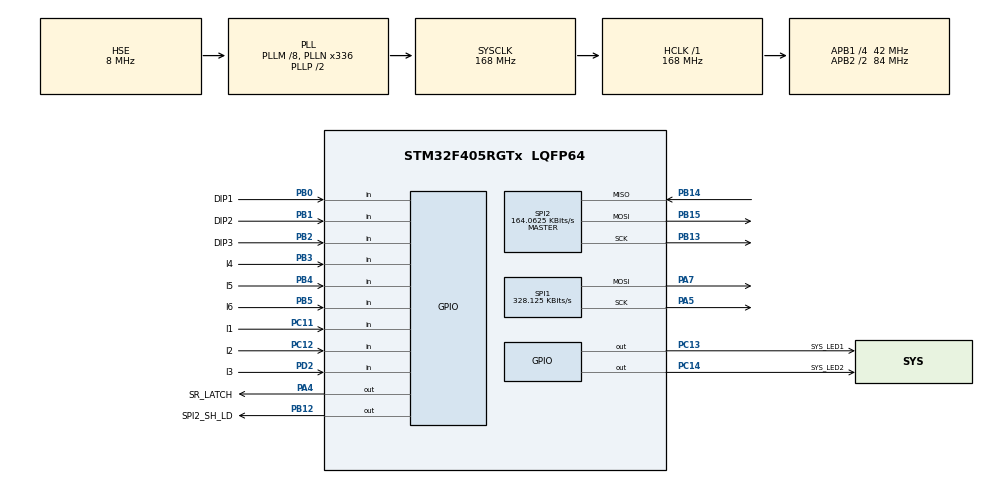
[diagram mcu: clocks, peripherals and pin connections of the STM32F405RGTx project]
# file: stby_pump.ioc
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Mcu.Family=STM32F4
Mcu.Name=STM32F405RGTx
Mcu.Package=LQFP64
NVIC.PriorityGroup=NVIC_PRIORITYGROUP_4
PA13.Mode=Serial_Wire
PA13.Signal=SYS_JTMS-SWDIO
PA14.Mode=Serial_Wire
PA14.Signal=SYS_JTCK-SWCLK
PA4.GPIO_Label=SR_LATCH
PA4.Signal=GPIO_Output
PA5.Mode=TX_Only_Simplex_Unidirect_Master
PA5.Signal=SPI1_SCK
PA7.Mode=TX_Only_Simplex_Unidirect_Master
PA7.Signal=SPI1_MOSI
PB0.GPIO_Label=DIP1
PB0.Signal=GPIO_Input
PB1.GPIO_Label=DIP2
PB1.Signal=GPIO_Input
PB2.GPIO_Label=DIP3
PB2.Signal=GPIO_Input
PB3.GPIO_Label=I4
PB3.Signal=GPIO_Input
PB4.GPIO_Label=I5
PB4.Signal=GPIO_Input
PB5.GPIO_Label=I6
PB5.Signal=GPIO_Input
PB12.GPIO_Label=SPI2_SH_LD
PB12.PinState=GPIO_PIN_SET
PB12.Signal=GPIO_Output
PB13.Mode=Full_Duplex_Master
PB13.Signal=SPI2_SCK
PB14.Mode=Full_Duplex_Master
PB14.Signal=SPI2_MISO
PB15.Mode=Full_Duplex_Master
PB15.Signal=SPI2_MOSI
PC11.GPIO_Label=I1
PC11.Signal=GPIO_Input
PC12.GPIO_Label=I2
PC12.Signal=GPIO_Input
PC13-ANTI_TAMP.GPIO_Label=SYS_LED1
PC13-ANTI_TAMP.Signal=GPIO_Output
PC14-OSC32_IN.GPIO_Label=SYS_LED2
PC14-OSC32_IN.Signal=GPIO_Output
PD2.GPIO_Label=I3
PD2.Signal=GPIO_Input
PH0-OSC_IN.Mode=HSE-External-Oscillator
PH0-OSC_IN.Signal=RCC_OSC_IN
PH1-OSC_OUT.Mode=HSE-External-Oscillator
PH1-OSC_OUT.Signal=RCC_OSC_OUT
ProjectManager.HeapSize=0x200
ProjectManager.StackSize=0x400
ProjectManager.TargetToolchain=STM32CubeIDE
RCC.AHBCLKDivider=RCC_SYSCLK_DIV1
RCC.AHBFreq_Value=168000000
RCC.APB1CLKDivider=RCC_HCLK_DIV4
RCC.APB1Freq_Value=42000000
RCC.APB1TimFreq_Value=84000000
RCC.APB2CLKDivider=RCC_HCLK_DIV2
RCC.APB2Freq_Value=84000000
RCC.APB2TimFreq_Value=168000000
RCC.CortexFreq_Value=168000000
RCC.HCLKFreq_Value=168000000
RCC.HSE_VALUE=8000000
RCC.HSI_VALUE=16000000
RCC.LSE_VALUE=32768
RCC.PLLM=8
RCC.PLLN=336
RCC.PLLP=RCC_PLLP_DIV2
RCC.PLLQ=7
RCC.PLLSourceVirtual=RCC_PLLSOURCE_HSE
RCC.SYSCLKFreq_VALUE=168000000
RCC.SYSCLKSource=RCC_SYSCLKSOURCE_PLLCLK
RCC.VCOOutputFreq_Value=336000000
SPI1.BaudRatePrescaler=SPI_BAUDRATEPRESCALER_256
SPI1.CalculateBaudRate=328.125 KBits/s
SPI1.Direction=SPI_DIRECTION_2LINES
SPI1.Mode=SPI_MODE_MASTER
SPI1.VirtualType=VM_MASTER
SPI2.BaudRatePrescaler=SPI_BAUDRATEPRESCALER_256
SPI2.CalculateBaudRate=164.0625 KBits/s
SPI2.Direction=SPI_DIRECTION_2LINES
SPI2.Mode=SPI_MODE_MASTER
SPI2.VirtualType=VM_MASTER
board=custom

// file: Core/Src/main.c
/* USER CODE BEGIN Header */
/**
 ******************************************************************************
 * @file           : main.c
 * @brief          : Main program body
 ******************************************************************************
 * @attention
 *
 * Copyright (c) 2026 STMicroelectronics.
 * All rights reserved.
 * This software is licensed under terms that can be found in the LICENSE file
 * in the root directory of this software component.
 * If no LICENSE file comes with this software, it is provided AS-IS.
 *
 ******************************************************************************
 */
/* USER CODE END Header */
#include "main.h"

/* USER CODE BEGIN Includes */
#include "stby_config.h"
#include <string.h>

/* USER CODE END Includes */

/* USER CODE BEGIN PTD */
typedef enum
{
    SELECTOR_OFF = 0,
    SELECTOR_P1,
    SELECTOR_P2,
    SELECTOR_INVALID
} SelectorState_t;

typedef enum
{
    PUMP_STATE_OFF = 0,
    PUMP_STATE_RUNNING
} PumpState_t;

typedef enum
{
    AUTO_STATE_OFF = 0,
    AUTO_STATE_TRY_PRIMARY,
    AUTO_STATE_PRIMARY_RUNNING,
    AUTO_STATE_TRY_SECONDARY,
    AUTO_STATE_SECONDARY_RUNNING,
    AUTO_STATE_ALARM
} AutoState_t;

typedef struct
{
    uint8_t pressure_p1_raw;
    uint8_t rpm_p1_raw;
    uint8_t fb_p1_raw;
    uint8_t pressure_p2_raw;
    uint8_t rpm_p2_raw;
    uint8_t fb_p2_raw;

    uint8_t ac_p1_raw;
    uint8_t ac_p2_raw;

    uint8_t ack_lt1_raw;
    uint8_t sel_p1_raw;
    uint8_t sel_p2_raw;
} RawInputs_t;

typedef struct
{
    uint8_t pressure_p1;
    uint8_t rpm_p1;
    uint8_t fb_p1;
    uint8_t pressure_p2;
    uint8_t rpm_p2;
    uint8_t fb_p2;

    uint8_t ac_p1;
    uint8_t ac_p2;

    uint8_t ack_short;
    uint8_t lamp_test;
    SelectorState_t selector;
} Inputs_t;

typedef struct
{
    uint8_t pump1_cmd;
    uint8_t pump2_cmd;

    uint8_t ind1_system_ready;
    uint8_t ind2_p1_ready;
    uint8_t ind3_p1_on;
    uint8_t ind4_p1_standby;
    uint8_t ind5_p2_ready;
    uint8_t ind6_p2_on;
    uint8_t ind7_p2_standby;
    uint8_t ind8_pressure_low;
    uint8_t ind9_standby_alarm;
} Outputs_t;

typedef struct
{
    PumpState_t state;
    uint32_t state_tick;
} PumpChannel_t;

/* USER CODE END PTD */

/* USER CODE BEGIN PD */

#define INPUT_ACTIVE_STATE GPIO_PIN_SET
#define LED_ON_STATE GPIO_PIN_SET
#define LED_OFF_STATE ((LED_ON_STATE == GPIO_PIN_SET) ? GPIO_PIN_RESET : GPIO_PIN_SET)
#define PIN_IS_ACTIVE(port, pin) (HAL_GPIO_ReadPin((port), (pin)) == (INPUT_ACTIVE_STATE))
#define MAYBE_UNUSED __attribute__((unused))

#define SR_LATCH_GPIO SR_LATCH_GPIO_Port
#define SR_LATCH_PIN SR_LATCH_Pin
/* ---------------- Configuration ---------------- */
#define CONTROL_MODE_AUTO STBY_CONTROL_MODE_AUTO
#define CONTROL_MODE_MANUAL STBY_CONTROL_MODE_MANUAL
#define CONTROL_MODE_TEST STBY_CONTROL_MODE_TEST
#define CONTROL_MODE_PIN_TEST STBY_CONTROL_MODE_PIN_TEST
#define CONTROL_MODE STBY_CONTROL_MODE

/* Input polarities: set 1 if active high, 0 if active low */
#define PRESSURE_ACTIVE_LEVEL STBY_PRESSURE_ACTIVE_LEVEL
#define RPM_ACTIVE_LEVEL STBY_RPM_ACTIVE_LEVEL
#define AC_ACTIVE_LEVEL STBY_AC_ACTIVE_LEVEL
#define FEEDBACK_ACTIVE_LEVEL STBY_FEEDBACK_ACTIVE_LEVEL
#define SELECTOR_ACTIVE_LEVEL STBY_SELECTOR_ACTIVE_LEVEL
#define ACK_LT1_ACTIVE_LEVEL STBY_ACK_ACTIVE_LEVEL

/* Timing */
#define LOOP_DELAY_MS 20U
#define T_DEBOUNCE_MS 200U
#define T_RPM_DEBOUNCE_MS 2000U
#define T_ACK_DEBOUNCE_MS 50U
#define T_ACK_LONGPRESS_MS 1500U
#define T_BLINK_MS 500U
#define T_FEEDBACK_TIMEOUT_MS 3000U
#define T_OUTPUT_TEST_STEP_MS STBY_OUTPUT_TEST_STEP_MS
#define T_RELAY_BREAK_BEFORE_MAKE_MS STBY_RELAY_BREAK_BEFORE_MAKE_MS

#define FAULT_P1_FEEDBACK_TIMEOUT_MASK (1UL << 0)
#define FAULT_P2_FEEDBACK_TIMEOUT_MASK (1UL << 1)

/* USER CODE END PD */

SPI_HandleTypeDef hspi1;
SPI_HandleTypeDef hspi2;

/* USER CODE BEGIN PV */

static RawInputs_t g_raw;
static Inputs_t g_in;
static Outputs_t g_out;

static AutoState_t g_auto_state = AUTO_STATE_OFF;
static uint8_t g_alarm_latched = 0;
static uint8_t g_alarm_blink = 0;
static uint32_t g_auto_state_tick = 0U;
static SelectorState_t g_auto_primary_pump = SELECTOR_OFF;
static uint32_t g_auto_failed_mask = 0U;

static uint32_t g_fault_active_mask = 0U;
static uint32_t g_fault_new_mask = 0U;
static uint32_t g_fault_prev_active_mask = 0U;
static uint32_t g_fault_latched_mask = 0U;

static PumpChannel_t g_p1_channel = {PUMP_STATE_OFF, 0U};
static PumpChannel_t g_p2_channel = {PUMP_STATE_OFF, 0U};

static uint8_t g_last_ack_raw = 0;
static uint32_t g_ack_press_tick = 0;
static uint8_t g_lamp_test_active = 0;
static uint8_t g_lamp_test_group_step = 0U;
static uint8_t g_lamp_test_prev_active = 0U;
static uint32_t g_lamp_test_tick = 0U;
static uint8_t g_test_led_step = 0U;
static uint32_t g_test_step_tick = 0U;
static uint8_t g_test_dip_stable = 0U;
static uint8_t g_test_dip_candidate = 0U;
static uint32_t g_test_dip_tick = 0U;
static uint8_t g_test_initialized = 0U;
static uint8_t g_pin_test_initialized = 0U;
static uint8_t g_pin_test_byte = 0U;
static uint32_t g_pin_test_tick = 0U;
static uint8_t g_test_sys_led1 = 0U;
static uint8_t g_test_sys_led2 = 0U;
/* State of the last successfully latched relay frame. */
static SelectorState_t g_relay_active = SELECTOR_INVALID;
static uint8_t g_relay_off_confirmed = 0U;
static uint8_t g_bench_both_latched = 0U;
static uint32_t g_relay_break_tick = 0U;

/* Debounced values */
static uint8_t db_pressure_p1 = 0;
static uint8_t db_rpm_p1 = 0;
static uint8_t db_pressure_p2 = 0;
static uint8_t db_rpm_p2 = 0;
static uint8_t db_ac_p1 = 0;
static uint8_t db_ac_p2 = 0;
static uint8_t db_sel_p1 = 0;
static uint8_t db_sel_p2 = 0;
static uint8_t db_fb_p1 = 0;
static uint8_t db_fb_p2 = 0;
static uint8_t db_ack_lt1 = 0;

static uint32_t db_tick_pressure_p1 = 0;
static uint32_t db_tick_rpm_p1 = 0;
static uint32_t db_tick_pressure_p2 = 0;
static uint32_t db_tick_rpm_p2 = 0;
static uint32_t db_tick_ac_p1 = 0;
static uint32_t db_tick_ac_p2 = 0;
static uint32_t db_tick_sel_p1 = 0;
static uint32_t db_tick_sel_p2 = 0;
static uint32_t db_tick_fb_p1 = 0;
static uint32_t db_tick_fb_p2 = 0;
static uint32_t db_tick_ack_lt1 = 0;

/* USER CODE END PV */

void SystemClock_Config(void);
static void MX_GPIO_Init(void);
static void MX_SPI1_Init(void);
static void MX_SPI2_Init(void);
/* USER CODE BEGIN PFP */

static void ReadRawInputs(void);
static void ProcessInputs(void);
static void UpdateSysLeds(void);

static void SR_LatchPulse(void);
static void SR_Write16(uint8_t far_u5, uint8_t near_u2);
static uint8_t PISO_Read8(void);
static void ApplyRelayInterlock(void);
static void UpdateOutputs(void);

static uint8_t NormalizeLevel(uint8_t raw_active, uint8_t active_level);
static void DebounceBit(uint8_t raw, uint8_t *db, uint32_t *tick, uint32_t debounce_ms);

static void ClearOutputs(void);
static void RunControlLogic(void);
static MAYBE_UNUSED void RunAutoModeSection(void);
static MAYBE_UNUSED void RunManualModeSection(void);
static MAYBE_UNUSED void RunTestModeSection(void);
static MAYBE_UNUSED void RunOutputTestProgram(void);
static void SetTestIndicatorByOrder(uint8_t index);
static void ApplyLampTestGroupToOutputs(uint8_t group);

static void StopAllPumps(void);
static void EnterPumpChannelState(PumpChannel_t *channel, PumpState_t new_state);
static void PrimeDebouncedInputs(void);

static uint8_t PressureDemandForPump(SelectorState_t pump);
static uint8_t PumpRunRequest(uint8_t pressure_low, uint8_t rpm_active);
static void UpdateAlarmLatch(uint32_t active_mask);
static uint8_t P1Ready(void);
static uint8_t P2Ready(void);
static SelectorState_t OtherPump(SelectorState_t pump);
static uint8_t PumpReady(SelectorState_t pump);
static uint8_t PumpFeedback(SelectorState_t pump);
static uint8_t PumpDemand(SelectorState_t pump);
static uint32_t FeedbackFaultMaskForPump(SelectorState_t pump);
static uint8_t PumpFailedThisCycle(SelectorState_t pump);
static void CommandOnlyPump(SelectorState_t pump);
static void EnterAutoState(AutoState_t new_state);
static void ResetAutoController(void);
static void EnterAutoAlarm(void);

static void ApplyLampTestIfNeeded(void);

/* USER CODE END PFP */

/* USER CODE BEGIN 0 */

static uint8_t NormalizeLevel(uint8_t raw_active, uint8_t active_level)
{
    return active_level ? raw_active : (uint8_t)!raw_active;
}

static void DebounceBit(uint8_t raw, uint8_t *db, uint32_t *tick, uint32_t debounce_ms)
{
    uint32_t now = HAL_GetTick();

    if (raw != *db)
    {
        if ((now - *tick) >= debounce_ms)
        {
            *db = raw;
            *tick = now;
        }
    }
    else
    {
        *tick = now;
    }
}

static void ReadRawInputs(void)
{
    uint8_t piso = PISO_Read8();

    /* Revised J2 map: DI1..DI6 are the six opto-isolated process inputs. */
    g_raw.pressure_p1_raw = PIN_IS_ACTIVE(I1_GPIO_Port, I1_Pin);
    g_raw.rpm_p1_raw = PIN_IS_ACTIVE(I2_GPIO_Port, I2_Pin);
    g_raw.fb_p1_raw = PIN_IS_ACTIVE(I3_GPIO_Port, I3_Pin);

    g_raw.pressure_p2_raw = PIN_IS_ACTIVE(I4_GPIO_Port, I4_Pin);
    g_raw.rpm_p2_raw = PIN_IS_ACTIVE(I5_GPIO_Port, I5_Pin);
    g_raw.fb_p2_raw = PIN_IS_ACTIVE(I6_GPIO_Port, I6_Pin);

    /* U3 74HC165: D0..D3 = display contacts, D6/D7 = AC1/AC2. */
    g_raw.sel_p1_raw = (uint8_t)((piso >> STBY_DISP_SEL_P1_BIT) & 0x01U);
    g_raw.sel_p2_raw = (uint8_t)((piso >> STBY_DISP_SEL_P2_BIT) & 0x01U);
    g_raw.ack_lt1_raw = (uint8_t)((piso >> STBY_DISP_ACK_BIT) & 0x01U);
    g_raw.ac_p1_raw = (uint8_t)((piso >> 6U) & 0x01U);
    g_raw.ac_p2_raw = (uint8_t)((piso >> 7U) & 0x01U);
}

static void ProcessInputs(void)
{
    uint32_t now = HAL_GetTick();

    DebounceBit(g_raw.pressure_p1_raw, &db_pressure_p1, &db_tick_pressure_p1, T_DEBOUNCE_MS);
    DebounceBit(g_raw.rpm_p1_raw, &db_rpm_p1, &db_tick_rpm_p1, T_RPM_DEBOUNCE_MS);
    DebounceBit(g_raw.fb_p1_raw, &db_fb_p1, &db_tick_fb_p1, T_DEBOUNCE_MS);
    DebounceBit(g_raw.pressure_p2_raw, &db_pressure_p2, &db_tick_pressure_p2, T_DEBOUNCE_MS);
    DebounceBit(g_raw.rpm_p2_raw, &db_rpm_p2, &db_tick_rpm_p2, T_RPM_DEBOUNCE_MS);
    DebounceBit(g_raw.fb_p2_raw, &db_fb_p2, &db_tick_fb_p2, T_DEBOUNCE_MS);
    db_ac_p1 = g_raw.ac_p1_raw;
    db_tick_ac_p1 = now;
    db_ac_p2 = g_raw.ac_p2_raw;
    db_tick_ac_p2 = now;
    DebounceBit(g_raw.sel_p1_raw, &db_sel_p1, &db_tick_sel_p1, T_DEBOUNCE_MS);
    DebounceBit(g_raw.sel_p2_raw, &db_sel_p2, &db_tick_sel_p2, T_DEBOUNCE_MS);
    DebounceBit(g_raw.ack_lt1_raw, &db_ack_lt1, &db_tick_ack_lt1, T_ACK_DEBOUNCE_MS);

    g_in.pressure_p1 = NormalizeLevel(db_pressure_p1, PRESSURE_ACTIVE_LEVEL);
    g_in.rpm_p1 = NormalizeLevel(db_rpm_p1, RPM_ACTIVE_LEVEL);
    g_in.fb_p1 = NormalizeLevel(db_fb_p1, FEEDBACK_ACTIVE_LEVEL);
    g_in.pressure_p2 = NormalizeLevel(db_pressure_p2, PRESSURE_ACTIVE_LEVEL);
    g_in.rpm_p2 = NormalizeLevel(db_rpm_p2, RPM_ACTIVE_LEVEL);
    g_in.fb_p2 = NormalizeLevel(db_fb_p2, FEEDBACK_ACTIVE_LEVEL);

    g_in.ac_p1 = NormalizeLevel(db_ac_p1, AC_ACTIVE_LEVEL);
    g_in.ac_p2 = NormalizeLevel(db_ac_p2, AC_ACTIVE_LEVEL);

    {
        uint8_t sel1 = NormalizeLevel(db_sel_p1, SELECTOR_ACTIVE_LEVEL);
        uint8_t sel2 = NormalizeLevel(db_sel_p2, SELECTOR_ACTIVE_LEVEL);

        if ((sel1 == 0U) && (sel2 == 0U))
            g_in.selector = SELECTOR_OFF;
        else if ((sel1 == 1U) && (sel2 == 0U))
            g_in.selector = SELECTOR_P1;
        else if ((sel1 == 0U) && (sel2 == 1U))
            g_in.selector = SELECTOR_P2;
        else
            g_in.selector = SELECTOR_INVALID;
    }

    g_in.ack_short = 0U;
    g_in.lamp_test = 0U;

    {
        uint8_t ack_local_now = NormalizeLevel(db_ack_lt1, ACK_LT1_ACTIVE_LEVEL);
        uint8_t ack_any_now = ack_local_now;

        if ((ack_any_now == 1U) && (g_last_ack_raw == 0U))
        {
            g_in.ack_short = 1U;
            g_ack_press_tick = now;
            g_lamp_test_active = 0U;
        }

        if (ack_any_now == 1U)
        {
            if ((now - g_ack_press_tick) >= T_ACK_LONGPRESS_MS)
            {
                g_lamp_test_active = 1U;
            }
        }
        else
        {
            g_lamp_test_active = 0U;
        }

        g_in.lamp_test = g_lamp_test_active;
        g_last_ack_raw = ack_any_now;
    }

    g_alarm_blink = (((now / T_BLINK_MS) & 0x01U) != 0U) ? 1U : 0U;
}

static void UpdateSysLeds(void)
{
#if (CONTROL_MODE == CONTROL_MODE_PIN_TEST)
    HAL_GPIO_WritePin(SYS_LED1_GPIO_Port, SYS_LED1_Pin,
                      g_test_sys_led1 ? LED_ON_STATE : LED_OFF_STATE);
    HAL_GPIO_WritePin(SYS_LED2_GPIO_Port, SYS_LED2_Pin,
                      g_test_sys_led2 ? LED_ON_STATE : LED_OFF_STATE);
#elif (CONTROL_MODE == CONTROL_MODE_TEST)
    if (g_test_dip_stable != 0U)
    {
        HAL_GPIO_WritePin(SYS_LED1_GPIO_Port, SYS_LED1_Pin,
                          g_test_sys_led1 ? LED_ON_STATE : LED_OFF_STATE);
        HAL_GPIO_WritePin(SYS_LED2_GPIO_Port, SYS_LED2_Pin,
                          g_test_sys_led2 ? LED_ON_STATE : LED_OFF_STATE);
    }
    else
    {
        /* Production status: AC presence is steady, otherwise heartbeat. */
        HAL_GPIO_WritePin(SYS_LED1_GPIO_Port, SYS_LED1_Pin,
                          (g_in.ac_p1 || g_in.ac_p2) ? LED_ON_STATE : LED_OFF_STATE);
        HAL_GPIO_WritePin(SYS_LED2_GPIO_Port, SYS_LED2_Pin,
                          (g_in.ac_p1 || g_in.ac_p2 || g_alarm_blink) ? LED_ON_STATE : LED_OFF_STATE);
    }
#else
    HAL_GPIO_WritePin(SYS_LED1_GPIO_Port, SYS_LED1_Pin, LED_OFF_STATE);
    HAL_GPIO_WritePin(SYS_LED2_GPIO_Port, SYS_LED2_Pin,
                      g_alarm_blink ? LED_ON_STATE : LED_OFF_STATE);
#endif
}

static void SR_LatchPulse(void)
{
    HAL_GPIO_WritePin(SR_LATCH_GPIO, SR_LATCH_PIN, GPIO_PIN_SET);
    HAL_GPIO_WritePin(SR_LATCH_GPIO, SR_LATCH_PIN, GPIO_PIN_RESET);
}

static uint8_t PISO_Read8(void)
{
    uint8_t tx_dummy = 0xFFU;
    uint8_t rx = 0xFFU;
    volatile uint32_t settle;

    HAL_GPIO_WritePin(SPI2_SH_LD_GPIO_Port, SPI2_SH_LD_Pin, GPIO_PIN_RESET);
    for (settle = 0U; settle < 32U; settle++)
    {
        __NOP();
    }
    HAL_GPIO_WritePin(SPI2_SH_LD_GPIO_Port, SPI2_SH_LD_Pin, GPIO_PIN_SET);
    for (settle = 0U; settle < 32U; settle++)
    {
        __NOP();
    }

    if (HAL_SPI_TransmitReceive(&hspi2, &tx_dummy, &rx, 1U, 10U) != HAL_OK)
    {
        /* Pull-ups make 0xFF the non-active fail-safe value for display/AC inputs. */
        rx = 0xFFU;
    }

    return rx;
}

static void SR_Write16(uint8_t far_u5, uint8_t near_u2)
{
    uint8_t tx[2];

    /* Physical chain: MCU -> U2 (IND1..8) -> U5 (IND9, Q1, Q2). */
    tx[0] = far_u5;
    tx[1] = near_u2;

    if (HAL_SPI_Transmit(&hspi1, tx, 2U, 10U) == HAL_OK)
    {
        SelectorState_t latched = SELECTOR_OFF;
        SR_LatchPulse();
        g_bench_both_latched = ((far_u5 & 0xC0U) == 0xC0U);
        if ((far_u5 & 0xC0U) == 0x40U)
            latched = SELECTOR_P1;
        else if ((far_u5 & 0xC0U) == 0x80U)
            latched = SELECTOR_P2;
        else if ((far_u5 & 0xC0U) != 0U)
            latched = SELECTOR_INVALID;

        if (latched == SELECTOR_OFF)
        {
            if ((g_relay_active != SELECTOR_OFF) || !g_relay_off_confirmed)
                g_relay_break_tick = HAL_GetTick();
            g_relay_off_confirmed = 1U;
        }
        else
        {
            g_relay_off_confirmed = 0U;
        }
        g_relay_active = latched;
    }
    else
    {
        /* Force a confirmed OFF frame and a fresh gap before any restart. */
        g_relay_active = SELECTOR_INVALID;
        g_bench_both_latched = 0U;
        g_relay_off_confirmed = 0U;
    }
}

static void ClearOutputs(void)
{
    memset(&g_out, 0, sizeof(g_out));
}

static void StopAllPumps(void)
{
    g_out.pump1_cmd = 0U;
    g_out.pump2_cmd = 0U;
}

static void EnterPumpChannelState(PumpChannel_t *channel, PumpState_t new_state)
{
    if (channel->state != new_state)
    {
        channel->state = new_state;
        channel->state_tick = HAL_GetTick();
    }
}

static void PrimeDebouncedInputs(void)
{
    uint32_t now = HAL_GetTick();

    db_pressure_p1 = g_raw.pressure_p1_raw;
    db_rpm_p1 = g_raw.rpm_p1_raw;
    db_fb_p1 = g_raw.fb_p1_raw;
    db_pressure_p2 = g_raw.pressure_p2_raw;
    db_rpm_p2 = g_raw.rpm_p2_raw;
    db_fb_p2 = g_raw.fb_p2_raw;
    db_ac_p1 = g_raw.ac_p1_raw;
    db_ac_p2 = g_raw.ac_p2_raw;
    db_sel_p1 = g_raw.sel_p1_raw;
    db_sel_p2 = g_raw.sel_p2_raw;
    db_ack_lt1 = g_raw.ack_lt1_raw;

    db_tick_pressure_p1 = now;
    db_tick_rpm_p1 = now;
    db_tick_fb_p1 = now;
    db_tick_pressure_p2 = now;
    db_tick_rpm_p2 = now;
    db_tick_fb_p2 = now;
    db_tick_ac_p1 = now;
    db_tick_ac_p2 = now;
    db_tick_sel_p1 = now;
    db_tick_sel_p2 = now;
    db_tick_ack_lt1 = now;
}

static uint8_t PressureDemandForPump(SelectorState_t pump)
{
    if (pump == SELECTOR_P1)
        return g_in.pressure_p1;
    if (pump == SELECTOR_P2)
        return g_in.pressure_p2;
    return 0U;
}

static uint8_t PumpRunRequest(uint8_t pressure_low, uint8_t rpm_active)
{
    return (uint8_t)(pressure_low || !rpm_active);
}

static void UpdateAlarmLatch(uint32_t active_mask)
{
    g_fault_new_mask = active_mask & ~g_fault_prev_active_mask;

    if (g_in.ack_short)
    {
        g_fault_latched_mask = 0U;
    }

    g_fault_active_mask = active_mask;
    g_fault_latched_mask |= g_fault_new_mask;
    g_fault_prev_active_mask = active_mask;
    g_alarm_latched = (g_fault_latched_mask != 0U) ? 1U : 0U;
}

static uint8_t P1Ready(void)
{
    return g_in.ac_p1;
}

static uint8_t P2Ready(void)
{
    return g_in.ac_p2;
}

static SelectorState_t OtherPump(SelectorState_t pump)
{
    if (pump == SELECTOR_P1)
    {
        return SELECTOR_P2;
    }

    if (pump == SELECTOR_P2)
    {
        return SELECTOR_P1;
    }

    return SELECTOR_OFF;
}

static uint8_t PumpReady(SelectorState_t pump)
{
    if (pump == SELECTOR_P1)
    {
        return P1Ready();
    }

    if (pump == SELECTOR_P2)
    {
        return P2Ready();
    }

    return 0U;
}

static uint8_t PumpFeedback(SelectorState_t pump)
{
    if (pump == SELECTOR_P1)
    {
        return g_in.fb_p1;
    }

    if (pump == SELECTOR_P2)
    {
        return g_in.fb_p2;
    }

    return 0U;
}

static uint8_t PumpDemand(SelectorState_t pump)
{
    if (pump == SELECTOR_P1)
    {
        return PumpRunRequest(PressureDemandForPump(SELECTOR_P1), g_in.rpm_p1);
    }

    if (pump == SELECTOR_P2)
    {
        return PumpRunRequest(PressureDemandForPump(SELECTOR_P2), g_in.rpm_p2);
    }

    return 0U;
}

static uint32_t FeedbackFaultMaskForPump(SelectorState_t pump)
{
    if (pump == SELECTOR_P1)
    {
        return FAULT_P1_FEEDBACK_TIMEOUT_MASK;
    }

    if (pump == SELECTOR_P2)
    {
        return FAULT_P2_FEEDBACK_TIMEOUT_MASK;
    }

    return 0U;
}

static uint8_t PumpFailedThisCycle(SelectorState_t pump)
{
    return ((g_auto_failed_mask & FeedbackFaultMaskForPump(pump)) != 0U) ? 1U : 0U;
}

static void CommandOnlyPump(SelectorState_t pump)
{
    g_out.pump1_cmd = (pump == SELECTOR_P1) ? 1U : 0U;
    g_out.pump2_cmd = (pump == SELECTOR_P2) ? 1U : 0U;
}

static void EnterAutoState(AutoState_t new_state)
{
    if (g_auto_state != new_state)
    {
        g_auto_state = new_state;
        g_auto_state_tick = HAL_GetTick();
    }
}

static void ResetAutoController(void)
{
    g_auto_state = AUTO_STATE_OFF;
    g_auto_state_tick = HAL_GetTick();
    g_auto_primary_pump = SELECTOR_OFF;
    g_auto_failed_mask = 0U;
    g_fault_latched_mask = 0U;
    g_alarm_latched = 0U;
    g_fault_active_mask = 0U;
    g_fault_new_mask = 0U;
    g_fault_prev_active_mask = 0U;
}

static void EnterAutoAlarm(void)
{
    StopAllPumps();
    g_fault_latched_mask = g_auto_failed_mask;
    g_alarm_latched = (g_fault_latched_mask != 0U) ? 1U : 0U;
    EnterAutoState(AUTO_STATE_ALARM);
}

static void SetTestIndicatorByOrder(uint8_t index)
{
    switch (index)
    {
    case 0:
        g_out.ind1_system_ready = 1U;
        break;
    case 1:
        g_out.ind2_p1_ready = 1U;
        break;
    case 2:
        g_out.ind3_p1_on = 1U;
        break;
    case 3:
        g_out.ind4_p1_standby = 1U;
        break;
    case 4:
        g_out.ind5_p2_ready = 1U;
        break;
    case 5:
        g_out.ind6_p2_on = 1U;
        break;
    case 6:
        g_out.ind7_p2_standby = 1U;
        break;
    case 7:
        g_out.ind8_pressure_low = 1U;
        break;
    case 8:
    default:
        g_out.ind9_standby_alarm = 1U;
        break;
    }
}

static void ApplyLampTestGroupToOutputs(uint8_t group)
{
    uint8_t start_index = (uint8_t)(group * 3U);
    uint8_t i;

    g_out.ind1_system_ready = 0U;
    g_out.ind2_p1_ready = 0U;
    g_out.ind3_p1_on = 0U;
    g_out.ind4_p1_standby = 0U;
    g_out.ind5_p2_ready = 0U;
    g_out.ind6_p2_on = 0U;
    g_out.ind7_p2_standby = 0U;
    g_out.ind8_pressure_low = 0U;
    g_out.ind9_standby_alarm = 0U;

    for (i = 0U; i < 3U; i++)
    {
        uint8_t led_index = (uint8_t)(start_index + i);
        if (led_index >= 9U)
        {
            break;
        }

        SetTestIndicatorByOrder(led_index);
    }
}

/* Return true once a new DIP selection has been stable for 50 ms. */
/* Select safely at boot, then accept live changes after stable debounce. */
static MAYBE_UNUSED uint8_t UpdateTestDips(void)
{
    uint32_t now = HAL_GetTick();
    uint8_t dip = 0U;
    if (HAL_GPIO_ReadPin(DIP1_GPIO_Port, DIP1_Pin) == GPIO_PIN_RESET) dip |= 1U;
    if (HAL_GPIO_ReadPin(DIP2_GPIO_Port, DIP2_Pin) == GPIO_PIN_RESET) dip |= 2U;
    if (HAL_GPIO_ReadPin(DIP3_GPIO_Port, DIP3_Pin) == GPIO_PIN_RESET) dip |= 4U;
    if (!g_test_initialized)
    {
        g_test_initialized = 1U;
        g_test_dip_stable = dip;
        g_test_dip_candidate = dip;
        g_test_dip_tick = now;
        return dip != 0U;
    }
    if (dip != g_test_dip_candidate)
    {
        g_test_dip_candidate = dip;
        g_test_dip_tick = now;
    }
    else if (dip != g_test_dip_stable &&
             (now - g_test_dip_tick) >= STBY_TEST_DIP_DEBOUNCE_MS)
    {
        g_test_dip_stable = dip;
        return 1U;
    }
    return 0U;
}

static void RunOutputTestProgram(void)
{
    uint32_t now = HAL_GetTick();
    if ((now - g_test_step_tick) >= STBY_LED_TEST_STEP_MS)
    {
        g_test_step_tick = now;
        g_test_led_step = (uint8_t)((g_test_led_step + 1U) % 220U);
    }
    /* 20 IND1..IND9 scans followed by 20 all-on/all-off blinks. */
    StopAllPumps();
    g_test_sys_led1 = (g_test_led_step & 1U) == 0U;
    if (g_test_led_step < 180U)
    {
        SetTestIndicatorByOrder(g_test_led_step % 9U);
        g_test_sys_led2 = (uint8_t)!g_test_sys_led1;
    }
    else
    {
        g_test_sys_led2 = g_test_sys_led1;
        if (g_test_sys_led1)
            for (uint8_t index = 0U; index < 9U; index++)
                SetTestIndicatorByOrder(index);
    }
}

/* SWD-only diagnostic: raw outputs deliberately bypass relay interlocking.
   Do not apply the 24 V coil supply while this mode is selected. */
static MAYBE_UNUSED void RunShiftRegisterPinTest(void)
{
    uint32_t now = HAL_GetTick();
    if (!g_pin_test_initialized)
    {
        g_pin_test_initialized = 1U;
        g_pin_test_byte = 0U;
        g_pin_test_tick = now;
    }
    if ((now - g_pin_test_tick) >= STBY_PIN_TEST_PHASE_MS)
    {
        g_pin_test_tick = now;
        g_pin_test_byte ^= 0xFFU;
    }
    g_test_sys_led1 = (g_pin_test_byte != 0U) ? 1U : 0U;
    g_test_sys_led2 = (uint8_t)!g_test_sys_led1;
}

static void RunControlLogic(void)
{
    ClearOutputs();

#if (CONTROL_MODE == CONTROL_MODE_PIN_TEST)
    RunShiftRegisterPinTest();
#elif (CONTROL_MODE == CONTROL_MODE_TEST)
    if (UpdateTestDips())
    {
        /* Reset mode state and require a fresh confirmed OFF interval. */
        g_relay_off_confirmed = 0U;
        g_bench_both_latched = 0U;
        ResetAutoController();
        g_test_led_step = 0U;
        g_test_step_tick = HAL_GetTick();
        g_test_sys_led1 = 0U;
        g_test_sys_led2 = 0U;
        g_lamp_test_active = 0U;
        g_lamp_test_prev_active = 0U;
        g_in.lamp_test = 0U;
        g_in.ack_short = 0U;
        g_ack_press_tick = HAL_GetTick();
        g_last_ack_raw = NormalizeLevel(db_ack_lt1, ACK_LT1_ACTIVE_LEVEL);
        return;
    }
    if (g_test_dip_stable == STBY_DIP_MODE_LED_BLINK)
        RunTestModeSection();
    else if (g_test_dip_stable == STBY_DIP_MODE_ALL_ON)
    {
        /* Explicit bench mode: both coils and all indicators held ON. */
        g_out.pump1_cmd = 1U;
        g_out.pump2_cmd = 1U;
        for (uint8_t index = 0U; index < 9U; index++)
            SetTestIndicatorByOrder(index);
        g_test_sys_led1 = 1U;
        g_test_sys_led2 = 1U;
    }
    else if (g_test_dip_stable == STBY_DIP_MODE_AUTO)
        RunAutoModeSection();
    else
    {
        /* Undefined DIP codes must not start pumps or a test. */
        g_test_sys_led1 = 0U;
        g_test_sys_led2 = 0U;
    }
#elif (CONTROL_MODE == CONTROL_MODE_MANUAL)
    RunManualModeSection();
#else
    RunAutoModeSection();
#endif
}

static MAYBE_UNUSED void RunAutoModeSection(void)
{
    SelectorState_t secondary_pump = OtherPump(g_auto_primary_pump);
    uint8_t demand_active = PumpDemand(g_auto_primary_pump);
    uint8_t selector_changed = 0U;

    g_fault_active_mask = 0U;
    g_fault_new_mask = 0U;
    g_fault_prev_active_mask = 0U;
    g_alarm_latched = (g_fault_latched_mask != 0U) ? 1U : 0U;

    if ((g_auto_state != AUTO_STATE_OFF) && (g_auto_state != AUTO_STATE_ALARM))
    {
        selector_changed = (g_in.selector != g_auto_primary_pump) ? 1U : 0U;
    }

    /* AC inputs indicate inverter remote permission, not motor running.
       Permission loss cancels this attempt without recording a run failure. */
    if (((g_auto_state == AUTO_STATE_TRY_PRIMARY) ||
         (g_auto_state == AUTO_STATE_PRIMARY_RUNNING)) &&
        !PumpReady(g_auto_primary_pump))
        ResetAutoController();
    else if (((g_auto_state == AUTO_STATE_TRY_SECONDARY) ||
              (g_auto_state == AUTO_STATE_SECONDARY_RUNNING)) &&
             !PumpReady(secondary_pump))
        ResetAutoController();

    switch (g_auto_state)
    {
    case AUTO_STATE_OFF:
        StopAllPumps();
        g_fault_latched_mask = 0U;
        g_alarm_latched = 0U;
        g_auto_failed_mask = 0U;
        g_auto_primary_pump = SELECTOR_OFF;

        if ((g_in.selector == SELECTOR_P1) || (g_in.selector == SELECTOR_P2))
        {
            SelectorState_t primary_pump = g_in.selector;
            SelectorState_t fallback_pump = OtherPump(primary_pump);

            if (PumpDemand(primary_pump))
            {
                if (PumpReady(primary_pump))
                {
                    g_auto_primary_pump = primary_pump;
                    CommandOnlyPump(primary_pump);
                    EnterAutoState(AUTO_STATE_TRY_PRIMARY);
                }
                else if (PumpReady(fallback_pump))
                {
                    g_auto_primary_pump = primary_pump;
                    CommandOnlyPump(fallback_pump);
                    EnterAutoState(AUTO_STATE_TRY_SECONDARY);
                }
            }
        }
        break;

    case AUTO_STATE_TRY_PRIMARY:
        if (selector_changed || !demand_active)
        {
            StopAllPumps();
            ResetAutoController();
        }
        else if (PumpFeedback(g_auto_primary_pump))
        {
            CommandOnlyPump(g_auto_primary_pump);
            EnterAutoState(AUTO_STATE_PRIMARY_RUNNING);
        }
        else if ((HAL_GetTick() - g_auto_state_tick) >= T_FEEDBACK_TIMEOUT_MS)
        {
            g_auto_failed_mask |= FeedbackFaultMaskForPump(g_auto_primary_pump);

            if (PumpReady(secondary_pump) && !PumpFailedThisCycle(secondary_pump))
            {
                CommandOnlyPump(secondary_pump);
                EnterAutoState(AUTO_STATE_TRY_SECONDARY);
            }
            else
            {
                EnterAutoAlarm();
            }
        }
        else
        {
            CommandOnlyPump(g_auto_primary_pump);
        }
        break;

    case AUTO_STATE_PRIMARY_RUNNING:
        if (selector_changed || !demand_active)
        {
            StopAllPumps();
            ResetAutoController();
        }
        else if (PumpFeedback(g_auto_primary_pump))
        {
            CommandOnlyPump(g_auto_primary_pump);
        }
        else
        {
            g_auto_failed_mask |= FeedbackFaultMaskForPump(g_auto_primary_pump);

            if (PumpReady(secondary_pump) && !PumpFailedThisCycle(secondary_pump))
            {
                CommandOnlyPump(secondary_pump);
                EnterAutoState(AUTO_STATE_TRY_SECONDARY);
            }
            else
            {
                EnterAutoAlarm();
            }
        }
        break;

    case AUTO_STATE_TRY_SECONDARY:
        if (selector_changed || !demand_active)
        {
            StopAllPumps();
            ResetAutoController();
        }
        else if (PumpFeedback(secondary_pump))
        {
            CommandOnlyPump(secondary_pump);
            EnterAutoState(AUTO_STATE_SECONDARY_RUNNING);
        }
        else if ((HAL_GetTick() - g_auto_state_tick) >= T_FEEDBACK_TIMEOUT_MS)
        {
            g_auto_failed_mask |= FeedbackFaultMaskForPump(secondary_pump);
            EnterAutoAlarm();
        }
        else
        {
            CommandOnlyPump(secondary_pump);
        }
        break;

    case AUTO_STATE_SECONDARY_RUNNING:
        if (selector_changed || !demand_active)
        {
            StopAllPumps();
            ResetAutoController();
        }
        else if (PumpFeedback(secondary_pump))
        {
            CommandOnlyPump(secondary_pump);
        }
        else
        {
            g_auto_failed_mask |= FeedbackFaultMaskForPump(secondary_pump);

            if (PumpReady(g_auto_primary_pump) && !PumpFailedThisCycle(g_auto_primary_pump))
            {
                CommandOnlyPump(g_auto_primary_pump);
                EnterAutoState(AUTO_STATE_TRY_PRIMARY);
            }
            else
            {
                EnterAutoAlarm();
            }
        }
        break;

    case AUTO_STATE_ALARM:
    default:
        StopAllPumps();
        if (g_in.ack_short)
        {
            ResetAutoController();
        }
        break;
    }

    g_out.ind1_system_ready = 1U;
    g_out.ind2_p1_ready = P1Ready();
    g_out.ind3_p1_on = g_in.fb_p1;
    g_out.ind4_p1_standby = (g_in.selector == SELECTOR_P1) ? 1U : 0U;
    g_out.ind5_p2_ready = P2Ready();
    g_out.ind6_p2_on = g_in.fb_p2;
    g_out.ind7_p2_standby = (g_in.selector == SELECTOR_P2) ? 1U : 0U;
    g_out.ind8_pressure_low = (uint8_t)(g_in.pressure_p1 || g_in.pressure_p2);
    g_out.ind9_standby_alarm =
        (((g_fault_latched_mask & (FAULT_P1_FEEDBACK_TIMEOUT_MASK | FAULT_P2_FEEDBACK_TIMEOUT_MASK)) != 0U) &&
         g_alarm_blink)
            ? 1U
            : 0U;

    ApplyLampTestIfNeeded();
}

static MAYBE_UNUSED void RunManualModeSection(void)
{
    uint8_t pump1_selected = (g_in.selector == SELECTOR_P1) ? 1U : 0U;
    uint8_t pump2_selected = (g_in.selector == SELECTOR_P2) ? 1U : 0U;

    g_fault_active_mask = 0U;
    g_fault_new_mask = 0U;
    g_fault_prev_active_mask = 0U;
    g_fault_latched_mask = 0U;
    g_alarm_latched = 0U;

    if (pump1_selected)
    {
        g_out.pump1_cmd = 1U;
        EnterPumpChannelState(&g_p1_channel, PUMP_STATE_RUNNING);
    }
    else
    {
        g_out.pump1_cmd = 0U;
        EnterPumpChannelState(&g_p1_channel, PUMP_STATE_OFF);
    }

    if (pump2_selected)
    {
        g_out.pump2_cmd = 1U;
        EnterPumpChannelState(&g_p2_channel, PUMP_STATE_RUNNING);
    }
    else
    {
        g_out.pump2_cmd = 0U;
        EnterPumpChannelState(&g_p2_channel, PUMP_STATE_OFF);
    }

    g_out.ind1_system_ready = 1U;
    g_out.ind2_p1_ready = g_in.ac_p1;
    g_out.ind3_p1_on = g_in.fb_p1;
    g_out.ind4_p1_standby = pump1_selected;
    g_out.ind5_p2_ready = g_in.ac_p2;
    g_out.ind6_p2_on = g_in.fb_p2;
    g_out.ind7_p2_standby = pump2_selected;
    g_out.ind8_pressure_low = (uint8_t)(g_in.pressure_p1 || g_in.pressure_p2);
    g_out.ind9_standby_alarm = 0U;

    ApplyLampTestIfNeeded();
}

static MAYBE_UNUSED void RunTestModeSection(void)
{
    UpdateAlarmLatch(0U);
    RunOutputTestProgram();
}

static void ApplyLampTestIfNeeded(void)
{
    if (g_in.lamp_test)
    {
        uint32_t now = HAL_GetTick();

        if (g_lamp_test_prev_active == 0U)
        {
            g_lamp_test_group_step = 0U;
            g_lamp_test_tick = now;
        }
        else if ((now - g_lamp_test_tick) >= T_OUTPUT_TEST_STEP_MS)
        {
            g_lamp_test_tick = now;
            g_lamp_test_group_step = (uint8_t)((g_lamp_test_group_step + 1U) % 3U);
        }

        ApplyLampTestGroupToOutputs(g_lamp_test_group_step);
        g_lamp_test_prev_active = 1U;
    }
    else
    {
        g_lamp_test_prev_active = 0U;
    }
}

static void ApplyRelayInterlock(void)
{
#if (CONTROL_MODE == CONTROL_MODE_TEST)
    if ((g_test_dip_stable == STBY_DIP_MODE_ALL_ON) &&
        g_out.pump1_cmd && g_out.pump2_cmd)
    {
        /* Bench-only exception to permission/mutual exclusion. Start only
           after a successfully latched OFF frame and the normal 100 ms gap. */
        if (!g_bench_both_latched &&
            !((g_relay_active == SELECTOR_OFF) && g_relay_off_confirmed &&
              ((HAL_GetTick() - g_relay_break_tick) >= T_RELAY_BREAK_BEFORE_MAKE_MS)))
            StopAllPumps();
        return;
    }
#endif
    SelectorState_t requested = SELECTOR_OFF;
    if ((g_out.pump1_cmd != 0U) && (g_out.pump2_cmd == 0U))
        requested = SELECTOR_P1;
    else if ((g_out.pump2_cmd != 0U) && (g_out.pump1_cmd == 0U))
        requested = SELECTOR_P2;

    StopAllPumps();
    /* Final permission gate applies to both AUTO and MANUAL commands. */
    if ((requested == SELECTOR_OFF) || !PumpReady(requested))
        return;

    if ((g_relay_active == requested) ||
        ((g_relay_active == SELECTOR_OFF) && g_relay_off_confirmed &&
         ((HAL_GetTick() - g_relay_break_tick) >= T_RELAY_BREAK_BEFORE_MAKE_MS)))
    {
        CommandOnlyPump(requested);
    }
    /* Otherwise transmit OFF; SR_Write16 starts the gap after the latch. */
}

static void UpdateOutputs(void)
{
#if (CONTROL_MODE == CONTROL_MODE_PIN_TEST)
    SR_Write16(g_pin_test_byte, g_pin_test_byte);
    return;
#endif
    uint8_t near_u2 = 0U; /* QA..QH drive IND8..IND1. */
    uint8_t far_u5 = 0U;  /* QA=IND9, QG=Q1, QH=Q2. */

    ApplyRelayInterlock();

    if (g_out.pump1_cmd)
        far_u5 |= (1U << 6); /* U5 QG -> ULN O7 -> Q1 */
    if (g_out.pump2_cmd)
        far_u5 |= (1U << 7); /* U5 QH -> ULN O8 -> Q2 */

    if (g_out.ind1_system_ready)
        near_u2 |= (1U << 7);
    if (g_out.ind2_p1_ready)
        near_u2 |= (1U << 6);
    if (g_out.ind3_p1_on)
        near_u2 |= (1U << 5);
    if (g_out.ind4_p1_standby)
        near_u2 |= (1U << 4);
    if (g_out.ind5_p2_ready)
        near_u2 |= (1U << 3);
    if (g_out.ind6_p2_on)
        near_u2 |= (1U << 2);
    if (g_out.ind7_p2_standby)
        near_u2 |= (1U << 1);
    if (g_out.ind8_pressure_low)
        near_u2 |= (1U << 0);
    if (g_out.ind9_standby_alarm)
        far_u5 |= (1U << 0);

    SR_Write16(far_u5, near_u2);
}

/* USER CODE END 0 */

int main(void)
{

  /* MCU Configuration--------------------------------------------------------*/

  /* Reset of all peripherals, Initializes the Flash interface and the Systick. */
  HAL_Init();

  /* Configure the system clock */
  SystemClock_Config();

  /* Initialize all configured peripherals */
  MX_GPIO_Init();
  MX_SPI1_Init();
  MX_SPI2_Init();
  /* USER CODE BEGIN 2 */

    SR_Write16(0U, 0U);
    ReadRawInputs();
    PrimeDebouncedInputs();
    ProcessInputs();

  /* USER CODE END 2 */

  /* Infinite loop */
    while (1)
    {

    /* USER CODE BEGIN 3 */
        ReadRawInputs();
        ProcessInputs();
        RunControlLogic();
        UpdateOutputs();
        UpdateSysLeds();
        HAL_Delay(LOOP_DELAY_MS);
    }
  /* USER CODE END 3 */
}

void SystemClock_Config(void)
{
  RCC_OscInitTypeDef RCC_OscInitStruct = {0};
  RCC_ClkInitTypeDef RCC_ClkInitStruct = {0};

  /** Configure the main internal regulator output voltage
  */
  __HAL_RCC_PWR_CLK_ENABLE();
  __HAL_PWR_VOLTAGESCALING_CONFIG(PWR_REGULATOR_VOLTAGE_SCALE1);

  /** Initializes the RCC Oscillators according to the specified parameters
  * in the RCC_OscInitTypeDef structure.
  */
  RCC_OscInitStruct.OscillatorType = RCC_OSCILLATORTYPE_HSE;
  RCC_OscInitStruct.HSEState = RCC_HSE_ON;
  RCC_OscInitStruct.PLL.PLLState = RCC_PLL_ON;
  RCC_OscInitStruct.PLL.PLLSource = RCC_PLLSOURCE_HSE;
  RCC_OscInitStruct.PLL.PLLM = 8;
  RCC_OscInitStruct.PLL.PLLN = 336;
  RCC_OscInitStruct.PLL.PLLP = RCC_PLLP_DIV2;
  RCC_OscInitStruct.PLL.PLLQ = 7;
  if (HAL_RCC_OscConfig(&RCC_OscInitStruct) != HAL_OK)
  {
    Error_Handler();
  }

  /** Initializes the CPU, AHB and APB buses clocks
  */
  RCC_ClkInitStruct.ClockType = RCC_CLOCKTYPE_HCLK|RCC_CLOCKTYPE_SYSCLK
                              |RCC_CLOCKTYPE_PCLK1|RCC_CLOCKTYPE_PCLK2;
  RCC_ClkInitStruct.SYSCLKSource = RCC_SYSCLKSOURCE_PLLCLK;
  RCC_ClkInitStruct.AHBCLKDivider = RCC_SYSCLK_DIV1;
  RCC_ClkInitStruct.APB1CLKDivider = RCC_HCLK_DIV4;
  RCC_ClkInitStruct.APB2CLKDivider = RCC_HCLK_DIV2;

  if (HAL_RCC_ClockConfig(&RCC_ClkInitStruct, FLASH_LATENCY_5) != HAL_OK)
  {
    Error_Handler();
  }
}

static void MX_SPI1_Init(void)
{

  /* SPI1 parameter configuration*/
  hspi1.Instance = SPI1;
  hspi1.Init.Mode = SPI_MODE_MASTER;
  hspi1.Init.Direction = SPI_DIRECTION_2LINES;
  hspi1.Init.DataSize = SPI_DATASIZE_8BIT;
  hspi1.Init.CLKPolarity = SPI_POLARITY_LOW;
  hspi1.Init.CLKPhase = SPI_PHASE_1EDGE;
  hspi1.Init.NSS = SPI_NSS_SOFT;
  hspi1.Init.BaudRatePrescaler = SPI_BAUDRATEPRESCALER_256;
  hspi1.Init.FirstBit = SPI_FIRSTBIT_MSB;
  hspi1.Init.TIMode = SPI_TIMODE_DISABLE;
  hspi1.Init.CRCCalculation = SPI_CRCCALCULATION_DISABLE;
  hspi1.Init.CRCPolynomial = 10;
  if (HAL_SPI_Init(&hspi1) != HAL_OK)
  {
    Error_Handler();
  }

}

static void MX_SPI2_Init(void)
{

  hspi2.Instance = SPI2;
  hspi2.Init.Mode = SPI_MODE_MASTER;
  hspi2.Init.Direction = SPI_DIRECTION_2LINES;
  hspi2.Init.DataSize = SPI_DATASIZE_8BIT;
  hspi2.Init.CLKPolarity = SPI_POLARITY_LOW;
  hspi2.Init.CLKPhase = SPI_PHASE_1EDGE;
  hspi2.Init.NSS = SPI_NSS_SOFT;
  hspi2.Init.BaudRatePrescaler = SPI_BAUDRATEPRESCALER_256;
  hspi2.Init.FirstBit = SPI_FIRSTBIT_MSB;
  hspi2.Init.TIMode = SPI_TIMODE_DISABLE;
  hspi2.Init.CRCCalculation = SPI_CRCCALCULATION_DISABLE;
  hspi2.Init.CRCPolynomial = 10;
  if (HAL_SPI_Init(&hspi2) != HAL_OK)
  {
    Error_Handler();
  }

}

static void MX_GPIO_Init(void)
{
  GPIO_InitTypeDef GPIO_InitStruct = {0};

  /* GPIO Ports Clock Enable */
  __HAL_RCC_GPIOC_CLK_ENABLE();
  __HAL_RCC_GPIOH_CLK_ENABLE();
  __HAL_RCC_GPIOA_CLK_ENABLE();
  __HAL_RCC_GPIOD_CLK_ENABLE();
  __HAL_RCC_GPIOB_CLK_ENABLE();

  /*Configure GPIO pin Output Level */
  HAL_GPIO_WritePin(GPIOC, SYS_LED1_Pin|SYS_LED2_Pin, GPIO_PIN_RESET);

  /*Configure GPIO pin Output Level */
  HAL_GPIO_WritePin(SR_LATCH_GPIO_Port, SR_LATCH_Pin, GPIO_PIN_RESET);

  /*Configure GPIO pin Output Level */
  HAL_GPIO_WritePin(SPI2_SH_LD_GPIO_Port, SPI2_SH_LD_Pin, GPIO_PIN_SET);

  /*Configure GPIO pins : SYS_LED1_Pin SYS_LED2_Pin */
  GPIO_InitStruct.Pin = SYS_LED1_Pin|SYS_LED2_Pin;
  GPIO_InitStruct.Mode = GPIO_MODE_OUTPUT_PP;
  GPIO_InitStruct.Pull = GPIO_NOPULL;
  GPIO_InitStruct.Speed = GPIO_SPEED_FREQ_LOW;
  HAL_GPIO_Init(GPIOC, &GPIO_InitStruct);

  /*Configure GPIO pin : SR_LATCH_Pin */
  GPIO_InitStruct.Pin = SR_LATCH_Pin;
  GPIO_InitStruct.Mode = GPIO_MODE_OUTPUT_PP;
  GPIO_InitStruct.Pull = GPIO_NOPULL;
  GPIO_InitStruct.Speed = GPIO_SPEED_FREQ_LOW;
  HAL_GPIO_Init(GPIOA, &GPIO_InitStruct);

  /*Configure GPIO pin : SPI2_SH_LD_Pin */
  GPIO_InitStruct.Pin = SPI2_SH_LD_Pin;
  GPIO_InitStruct.Mode = GPIO_MODE_OUTPUT_PP;
  GPIO_InitStruct.Pull = GPIO_NOPULL;
  GPIO_InitStruct.Speed = GPIO_SPEED_FREQ_LOW;
  HAL_GPIO_Init(SPI2_SH_LD_GPIO_Port, &GPIO_InitStruct);

  /*Configure GPIO pins : I1_Pin I2_Pin */
  GPIO_InitStruct.Pin = I1_Pin|I2_Pin;
  GPIO_InitStruct.Mode = GPIO_MODE_INPUT;
  GPIO_InitStruct.Pull = GPIO_NOPULL;
  HAL_GPIO_Init(GPIOC, &GPIO_InitStruct);

  /*Configure GPIO pin : I3_Pin */
  GPIO_InitStruct.Pin = I3_Pin;
  GPIO_InitStruct.Mode = GPIO_MODE_INPUT;
  GPIO_InitStruct.Pull = GPIO_NOPULL;
  HAL_GPIO_Init(I3_GPIO_Port, &GPIO_InitStruct);

  /*Configure GPIO pins : DIP1_Pin DIP2_Pin DIP3_Pin I4_Pin I5_Pin I6_Pin */
  GPIO_InitStruct.Pin = DIP1_Pin|DIP2_Pin|DIP3_Pin|I4_Pin|I5_Pin|I6_Pin;
  GPIO_InitStruct.Mode = GPIO_MODE_INPUT;
  GPIO_InitStruct.Pull = GPIO_NOPULL;
  HAL_GPIO_Init(GPIOB, &GPIO_InitStruct);

}

void Error_Handler(void)
{
    __disable_irq();
    while (1)
    {
    }
}
